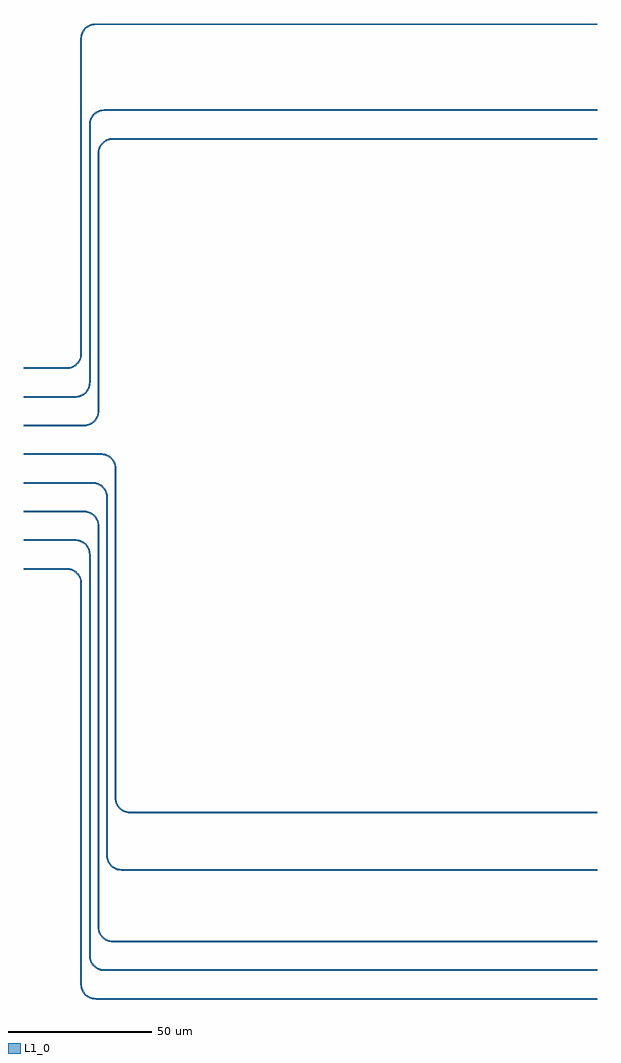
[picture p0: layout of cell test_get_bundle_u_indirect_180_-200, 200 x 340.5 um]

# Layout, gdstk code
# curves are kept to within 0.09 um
from math import pi, radians
import gdstk
lib = gdstk.Library(unit=1e-6, precision=1e-09)
def R(c, l, rs):  # rectangles x0, y0, x1, y1
    for r in rs: c.add(gdstk.rectangle(r[:2], r[2:], *l))
def P(c, l, *ps):  # polygons
    for p in ps: c.add(gdstk.Polygon(p, *l))
L1_0 = (1, 0)

bend_circular_964457f5 = lib.new_cell('bend_circular_964457f5')
P(bend_circular_964457f5, L1_0, [(0,-0.25),(1.092,-0.135),(2.135,0.204),(3.086,0.753),(3.712,1.288),(4.247,1.914),(4.796,2.865),(5.135,3.908),(5.25,5),(4.75,5),(4.646,4.012),(4.339,3.068),(3.984,2.413),(3.359,1.641),(2.587,1.016),(1.932,0.661),(0.988,0.354),(0,0.25)])

straight_7526c3c0 = lib.new_cell('straight_7526c3c0')
R(straight_7526c3c0, L1_0, [(0,-0.25,175,0.25)])

straight_10e421a1 = lib.new_cell('straight_10e421a1')
R(straight_10e421a1, L1_0, [(0,-0.25,140,0.25)])

straight_75db68dd = lib.new_cell('straight_75db68dd')
R(straight_75db68dd, L1_0, [(0,-0.25,15,0.25)])

straight_1cf8b280 = lib.new_cell('straight_1cf8b280')
R(straight_1cf8b280, L1_0, [(0,-0.25,172,0.25)])

straight_bb729cf3 = lib.new_cell('straight_bb729cf3')
R(straight_bb729cf3, L1_0, [(0,-0.25,18,0.25)])

straight_083b1092 = lib.new_cell('straight_083b1092')
R(straight_083b1092, L1_0, [(0,-0.25,169,0.25)])

straight_7f4a1dcc = lib.new_cell('straight_7f4a1dcc')
R(straight_7f4a1dcc, L1_0, [(0,-0.25,21,0.25)])

straight_388231ce = lib.new_cell('straight_388231ce')
R(straight_388231ce, L1_0, [(0,-0.25,166,0.25)])

straight_17340a43 = lib.new_cell('straight_17340a43')
R(straight_17340a43, L1_0, [(0,-0.25,125,0.25)])

straight_97db267d = lib.new_cell('straight_97db267d')
R(straight_97db267d, L1_0, [(0,-0.25,24,0.25)])

straight_6e4f482f = lib.new_cell('straight_6e4f482f')
R(straight_6e4f482f, L1_0, [(0,-0.25,163,0.25)])

straight_9a4f873b = lib.new_cell('straight_9a4f873b')
R(straight_9a4f873b, L1_0, [(0,-0.25,115,0.25)])

straight_b84123ef = lib.new_cell('straight_b84123ef')
R(straight_b84123ef, L1_0, [(0,-0.25,27,0.25)])

straight_2eae6bc1 = lib.new_cell('straight_2eae6bc1')
R(straight_2eae6bc1, L1_0, [(0,-0.25,90,0.25)])

straight_53e4af1a = lib.new_cell('straight_53e4af1a')
R(straight_53e4af1a, L1_0, [(0,-0.25,110,0.25)])

test_get_bundle_u_indire = lib.new_cell('test_get_bundle_u_indirect_180_-200')
test_get_bundle_u_indire.add(gdstk.Reference(bend_circular_964457f5, (-175,-100), rotation=pi, x_reflection=True))
test_get_bundle_u_indire.add(gdstk.Reference(bend_circular_964457f5, (-180,45), rotation=pi/2))
test_get_bundle_u_indire.add(gdstk.Reference(straight_7526c3c0, (0,-100), rotation=pi))
test_get_bundle_u_indire.add(gdstk.Reference(straight_10e421a1, (-180,-95), rotation=pi/2))
test_get_bundle_u_indire.add(gdstk.Reference(straight_75db68dd, (-185,50), rotation=pi))
test_get_bundle_u_indire.add(gdstk.Reference(bend_circular_964457f5, (-172,-90), rotation=pi, x_reflection=True))
test_get_bundle_u_indire.add(gdstk.Reference(bend_circular_964457f5, (-177,55), rotation=pi/2))
test_get_bundle_u_indire.add(gdstk.Reference(straight_1cf8b280, (0,-90), rotation=pi))
test_get_bundle_u_indire.add(gdstk.Reference(straight_10e421a1, (-177,-85), rotation=pi/2))
test_get_bundle_u_indire.add(gdstk.Reference(straight_bb729cf3, (-182,60), rotation=pi))
test_get_bundle_u_indire.add(gdstk.Reference(bend_circular_964457f5, (-169,-80), rotation=pi, x_reflection=True))
test_get_bundle_u_indire.add(gdstk.Reference(bend_circular_964457f5, (-174,65), rotation=pi/2))
test_get_bundle_u_indire.add(gdstk.Reference(straight_083b1092, (0,-80), rotation=pi))
test_get_bundle_u_indire.add(gdstk.Reference(straight_10e421a1, (-174,-75), rotation=pi/2))
test_get_bundle_u_indire.add(gdstk.Reference(straight_7f4a1dcc, (-179,70), rotation=pi))
test_get_bundle_u_indire.add(gdstk.Reference(bend_circular_964457f5, (-166,-55), rotation=pi, x_reflection=True))
test_get_bundle_u_indire.add(gdstk.Reference(bend_circular_964457f5, (-171,75), rotation=pi/2))
test_get_bundle_u_indire.add(gdstk.Reference(straight_388231ce, (0,-55), rotation=pi))
test_get_bundle_u_indire.add(gdstk.Reference(straight_17340a43, (-171,-50), rotation=pi/2))
test_get_bundle_u_indire.add(gdstk.Reference(straight_97db267d, (-176,80), rotation=pi))
test_get_bundle_u_indire.add(gdstk.Reference(bend_circular_964457f5, (-163,-35), rotation=pi, x_reflection=True))
test_get_bundle_u_indire.add(gdstk.Reference(bend_circular_964457f5, (-168,85), rotation=pi/2))
test_get_bundle_u_indire.add(gdstk.Reference(straight_6e4f482f, (0,-35), rotation=pi))
test_get_bundle_u_indire.add(gdstk.Reference(straight_9a4f873b, (-168,-30), rotation=pi/2))
test_get_bundle_u_indire.add(gdstk.Reference(straight_b84123ef, (-173,90), rotation=pi))
test_get_bundle_u_indire.add(gdstk.Reference(bend_circular_964457f5, (-169,200), rotation=pi))
test_get_bundle_u_indire.add(gdstk.Reference(bend_circular_964457f5, (-174,105), rotation=3*pi/2, x_reflection=True))
test_get_bundle_u_indire.add(gdstk.Reference(straight_083b1092, (0,200), rotation=pi))
test_get_bundle_u_indire.add(gdstk.Reference(straight_2eae6bc1, (-174,195), rotation=3*pi/2))
test_get_bundle_u_indire.add(gdstk.Reference(straight_7f4a1dcc, (-179,100), rotation=pi))
test_get_bundle_u_indire.add(gdstk.Reference(bend_circular_964457f5, (-172,210), rotation=pi))
test_get_bundle_u_indire.add(gdstk.Reference(bend_circular_964457f5, (-177,115), rotation=3*pi/2, x_reflection=True))
test_get_bundle_u_indire.add(gdstk.Reference(straight_1cf8b280, (0,210), rotation=pi))
test_get_bundle_u_indire.add(gdstk.Reference(straight_2eae6bc1, (-177,205), rotation=3*pi/2))
test_get_bundle_u_indire.add(gdstk.Reference(straight_bb729cf3, (-182,110), rotation=pi))
test_get_bundle_u_indire.add(gdstk.Reference(bend_circular_964457f5, (-175,240), rotation=pi))
test_get_bundle_u_indire.add(gdstk.Reference(bend_circular_964457f5, (-180,125), rotation=3*pi/2, x_reflection=True))
test_get_bundle_u_indire.add(gdstk.Reference(straight_7526c3c0, (0,240), rotation=pi))
test_get_bundle_u_indire.add(gdstk.Reference(straight_53e4af1a, (-180,235), rotation=3*pi/2))
test_get_bundle_u_indire.add(gdstk.Reference(straight_75db68dd, (-185,120), rotation=pi))

lib.write_gds('test_get_bundle_u_indirect_180_-200.gds')
